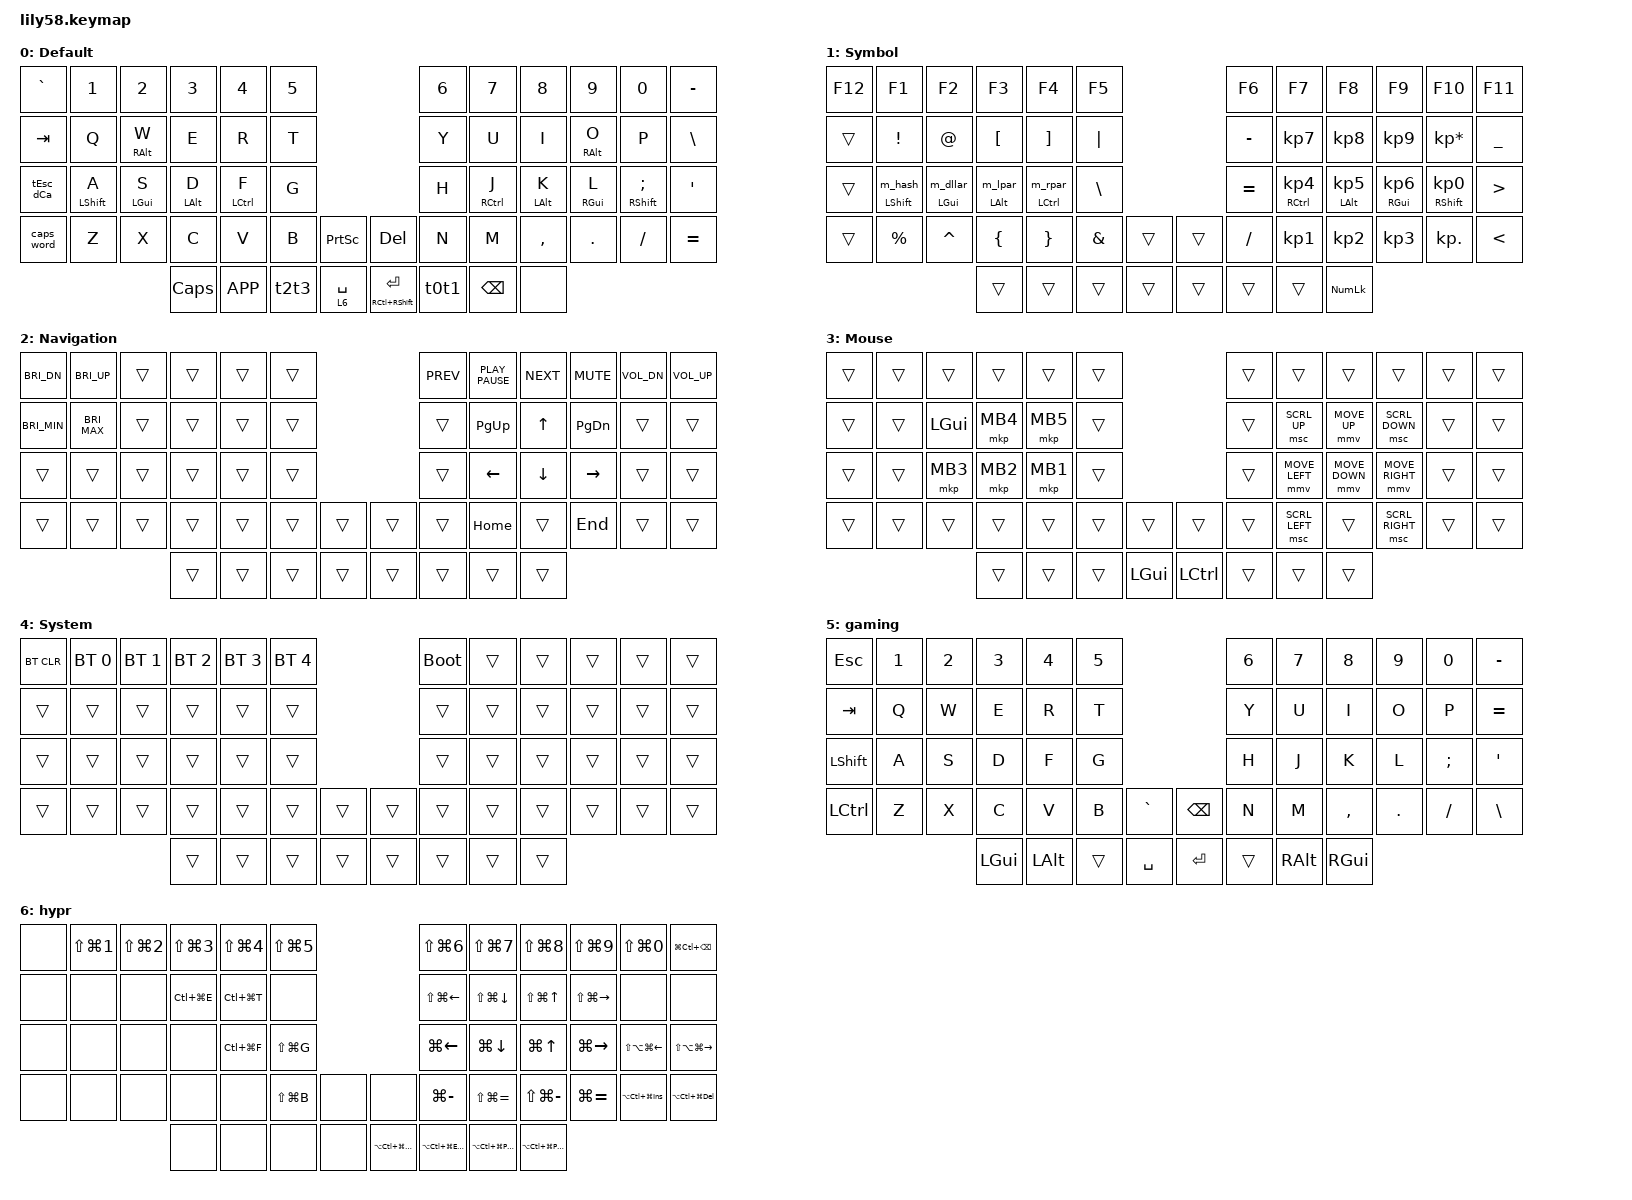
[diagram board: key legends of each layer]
/*
 * Copyright (c) 2020 The ZMK Contributors
 *
 * SPDX-License-Identifier: MIT
 */

#define ZMK_POINTING_DEFAULT_MOVE_VAL 2000  // default: 600
#define ZMK_POINTING_DEFAULT_SCRL_VAL 25    // default: 10

#include <behaviors.dtsi>
#include <dt-bindings/zmk/bt.h>
#include <dt-bindings/zmk/keys.h>
#include <dt-bindings/zmk/pointing.h>

/ {
    behaviors {
        tdbs: bsps-ctrl_bsps {
            compatible = "zmk,behavior-tap-dance";
            #binding-cells = <0>;
            tapping-term-ms = <200>;
            bindings = <&kp BSPC>, <&kp LC(BSPC)>;

            label = "bsps-ctrl_bsps";
        };

        t0t1: to_0-to_1 {
            compatible = "zmk,behavior-tap-dance";
            #binding-cells = <0>;
            tapping-term-ms = <200>;
            bindings = <&to 0>, <&to 1>;

            label = "to_0-to_1";
        };

        t2t3: to_2-to_3 {
            compatible = "zmk,behavior-tap-dance";
            #binding-cells = <0>;
            tapping-term-ms = <200>;
            bindings = <&to 2>, <&to 3>;

            label = "to_2-to_3";
        };

        hml: hrm_left {
            compatible = "zmk,behavior-hold-tap";
            #binding-cells = <2>;
            flavor = "balanced";
            require-prior-idle-ms = <150>;
            tapping-term-ms = <280>;
            quick-tap-ms = <175>;
            bindings = <&kp>, <&kp>;

            hold-trigger-key-positions = <6 7 8 9 10 11 18 19 20 21 22 23 30 31 32 33 34 35 43 44 45 46 47 48 49 54 55 56 57>;
            hold-trigger-on-release;
            label = "hrm_left";
        };

        hmr: hrm_right {
            compatible = "zmk,behavior-hold-tap";
            #binding-cells = <2>;
            flavor = "balanced";
            require-prior-idle-ms = <150>;
            tapping-term-ms = <280>;
            quick-tap-ms = <175>;
            bindings = <&kp>, <&kp>;

            hold-trigger-key-positions = <0 1 2 3 0 1 5 12 13 14 15 17 24 25 26 27 28 29 36 37 38 39 40 41 42 50 51 52 53 4 16>;
            hold-trigger-on-release;
            label = "hrm_right";
        };

        hmdlr: hrm_dollar {
            compatible = "zmk,behavior-hold-tap";
            #binding-cells = <2>;
            flavor = "balanced";
            require-prior-idle-ms = <150>;
            tapping-term-ms = <280>;
            quick-tap-ms = <175>;
            bindings = <&kp>, <&m_dllar>;

            hold-trigger-key-positions = <54 43 6 18 6 7 8 9 10 11 18 19 20 21 22 23 30 31 32 33 34 35 44 45 46 47 48 49 55 56 57>;
            hold-trigger-on-release;
            label = "hrm_dollar";
        };

        hmlpar: hrm_left_par {
            compatible = "zmk,behavior-hold-tap";
            #binding-cells = <2>;
            flavor = "balanced";
            require-prior-idle-ms = <150>;
            tapping-term-ms = <280>;
            quick-tap-ms = <175>;
            bindings = <&kp>, <&m_lpar>;

            hold-trigger-key-positions = <6 7 8 9 10 11 18 19 20 21 22 23 30 31 32 33 34 35 43 44 45 46 47 48 49 54 55 56 57>;
            hold-trigger-on-release;
            label = "hrm_left_par";
        };

        hmrpar: hrm_right_par {
            compatible = "zmk,behavior-hold-tap";
            #binding-cells = <2>;
            flavor = "balanced";
            require-prior-idle-ms = <150>;
            tapping-term-ms = <280>;
            quick-tap-ms = <175>;
            bindings = <&kp>, <&m_rpar>;

            hold-trigger-key-positions = <6 7 8 9 10 11 18 19 20 21 22 23 30 31 32 33 34 35 43 44 45 46 47 48 49 54 55 56 57>;
            hold-trigger-on-release;
            label = "hrm_right_par";
        };

        hmhsh: hmhsh {
            compatible = "zmk,behavior-hold-tap";
            #binding-cells = <2>;
            flavor = "balanced";
            require-prior-idle-ms = <150>;
            tapping-term-ms = <280>;
            quick-tap-ms = <175>;
            bindings = <&kp>, <&m_hash>;

            hold-trigger-key-positions = <54 43 6 18 6 7 8 9 10 11 18 19 20 21 22 23 30 31 32 33 34 35 44 45 46 47 48 49 55 56 57>;
            hold-trigger-on-release;
            label = "HMHSH";
        };

        tEsc_dCa: tEsc_dCa {
            compatible = "zmk,behavior-tap-dance";
            label = "TESC_DCA";
            #binding-cells = <0>;
            bindings = <&kp ESC>, <&kp LC(A)>;
        };
    };

    macros {
        // FIX HRM affecting the shifted symbols like & ( )

        m_dllar: dollar {
            compatible = "zmk,behavior-macro";
            #binding-cells = <0>;
            bindings =
                <&macro_press>,
                <&kp LSHIFT>,
                <&macro_tap>,
                <&kp N4>,
                <&macro_release>,
                <&kp LSHIFT>;
        };

        m_lpar: left_parenthesis {
            compatible = "zmk,behavior-macro";
            #binding-cells = <0>;
            bindings =
                <&macro_press>,
                <&kp LSHIFT>,
                <&macro_tap>,
                <&kp N9>,
                <&macro_release>,
                <&kp LSHIFT>;
        };

        m_rpar: right_parenthesis {
            compatible = "zmk,behavior-macro";
            #binding-cells = <0>;
            bindings =
                <&macro_press>,
                <&kp LSHIFT>,
                <&macro_tap>,
                <&kp N0>,
                <&macro_release>,
                <&kp LSHIFT>;
        };

        m_hash: m_hash {
            compatible = "zmk,behavior-macro";
            #binding-cells = <0>;
            bindings =
                <&macro_press>,
                <&kp LSHFT>,
                <&macro_tap>,
                <&kp N3>,
                <&macro_release>,
                <&kp LSHFT>;

            label = "M_HASH";
        };
    };

    combos {
        compatible = "zmk,combos";

        to_system {
            bindings = <&to 4>;
            key-positions = <42 43>;
        };

        to5 {
            bindings = <&to 5>;
            key-positions = <52 55>;
        };
    };

    keymap {
        compatible = "zmk,keymap";

        default_layer {
            bindings = <
&kp GRAVE   &kp N1         &kp N2       &kp N3       &kp N4        &kp N5                                    &kp N6  &kp N7         &kp N8       &kp N9       &kp N0                &kp MINUS
&kp TAB     &kp Q          &hml RALT W  &kp E        &kp R         &kp T                                     &kp Y   &kp U          &kp I        &hmr RALT O  &kp P                 &kp BACKSLASH
&tEsc_dCa   &hml LSHIFT A  &hml LGUI S  &hml LALT D  &hml LCTRL F  &kp G                                     &kp H   &hmr RCTRL J   &hmr LALT K  &hmr RGUI L  &hmr RSHFT SEMICOLON  &kp SQT
&caps_word  &kp Z          &kp X        &kp C        &kp V         &kp B   &kp PSCRN      &kp DEL            &kp N   &kp M          &kp COMMA    &kp PERIOD   &kp SLASH             &kp EQUAL
                                        &kp CAPS     &kp K_APP     &t2t3   &lt 6 SPACE    &mt RC(RSHFT) RET  &t0t1   &kp BACKSPACE  &none
            >;

            label = "Default";
        };

        symbol_layer {
            bindings = <
&kp F12  &kp F1          &kp F2         &kp F3          &kp F4           &kp F5                      &kp F6     &kp F7            &kp F8           &kp F9           &kp F10           &kp F11
&trans   &kp EXCL        &kp AT         &kp LBKT        &kp RBKT         &kp PIPE                    &kp MINUS  &kp KP_N7         &kp KP_N8        &kp KP_N9        &kp KP_MULTIPLY   &kp UNDER
&trans   &hmhsh LSHFT 0  &hmdlr LGUI 0  &hmlpar LALT 0  &hmrpar LCTRL 0  &kp BSLH                    &kp EQUAL  &hmr RCTRL KP_N4  &hmr LALT KP_N5  &hmr RGUI KP_N6  &hmr RSHFT KP_N0  &kp GREATER_THAN
&trans   &kp PRCNT       &kp CARET      &kp LBRC        &kp RBRC         &kp AMPS  &trans    &trans  &kp SLASH  &kp KP_N1         &kp KP_N2        &kp KP_N3        &kp KP_DOT        &kp LESS_THAN
                                        &trans          &trans           &trans    &trans    &trans  &trans     &trans            &kp KP_NLCK
            >;

            label = "Symbol";
        };

        navigation_layer {
            bindings = <
&kp C_BRI_DN   &kp C_BRI_UP   &trans  &trans  &trans  &trans                    &kp K_PREV  &kp K_PLAY_PAUSE  &kp K_NEXT  &kp K_MUTE  &kp K_VOL_DN  &kp K_VOL_UP
&kp C_BRI_MIN  &kp C_BRI_MAX  &trans  &trans  &trans  &trans                    &trans      &kp PG_UP         &kp UP      &kp PG_DN   &trans        &trans
&trans         &trans         &trans  &trans  &trans  &trans                    &trans      &kp LEFT          &kp DOWN    &kp RIGHT   &trans        &trans
&trans         &trans         &trans  &trans  &trans  &trans  &trans    &trans  &trans      &kp HOME          &trans      &kp END     &trans        &trans
                                      &trans  &trans  &trans  &trans    &trans  &trans      &trans            &trans
            >;

            label = "Navigation";
        };

        mouse_layer {
            bindings = <
&trans  &trans  &trans    &trans    &trans    &trans                             &trans  &trans          &trans          &trans           &trans  &trans
&trans  &trans  &kp LGUI  &mkp MB4  &mkp MB5  &trans                             &trans  &msc SCRL_UP    &mmv MOVE_UP    &msc SCRL_DOWN   &trans  &trans
&trans  &trans  &mkp MB3  &mkp MB2  &mkp MB1  &trans                             &trans  &mmv MOVE_LEFT  &mmv MOVE_DOWN  &mmv MOVE_RIGHT  &trans  &trans
&trans  &trans  &trans    &trans    &trans    &trans  &trans          &trans     &trans  &msc SCRL_LEFT  &trans          &msc SCRL_RIGHT  &trans  &trans
                          &trans    &trans    &trans  &kp LEFT_GUI    &kp LCTRL  &trans  &trans          &trans
            >;

            label = "Mouse";
        };

        system_layer {
            bindings = <
&bt BT_CLR  &bt BT_SEL 0  &bt BT_SEL 1  &bt BT_SEL 2  &bt BT_SEL 3  &bt BT_SEL 4                    &bootloader  &trans  &trans  &trans  &trans  &trans
&trans      &trans        &trans        &trans        &trans        &trans                          &trans       &trans  &trans  &trans  &trans  &trans
&trans      &trans        &trans        &trans        &trans        &trans                          &trans       &trans  &trans  &trans  &trans  &trans
&trans      &trans        &trans        &trans        &trans        &trans        &trans    &trans  &trans       &trans  &trans  &trans  &trans  &trans
                                        &trans        &trans        &trans        &trans    &trans  &trans       &trans  &trans
            >;

            label = "System";
        };

        gaming {
            bindings = <
&kp ESC    &kp N1  &kp N2  &kp N3    &kp N4    &kp N5                          &kp N6  &kp N7    &kp N8     &kp N9   &kp N0    &kp MINUS
&kp TAB    &kp Q   &kp W   &kp E     &kp R     &kp T                           &kp Y   &kp U     &kp I      &kp O    &kp P     &kp EQUAL
&kp LSHFT  &kp A   &kp S   &kp D     &kp F     &kp G                           &kp H   &kp J     &kp K      &kp L    &kp SEMI  &kp APOS
&kp LCTRL  &kp Z   &kp X   &kp C     &kp V     &kp B   &kp GRAVE    &kp BSPC   &kp N   &kp M     &kp COMMA  &kp DOT  &kp FSLH  &kp BSLH
                           &kp LGUI  &kp LALT  &trans  &kp SPACE    &kp ENTER  &trans  &kp RALT  &kp RGUI
            >;
        };

        hypr {
            bindings = <
&none  &kp LS(LG(N1))  &kp LS(LG(N2))  &kp LS(LG(N3))  &kp LS(LG(N4))  &kp LS(LG(N5))                                 &kp LS(LG(N6))       &kp LS(LG(N7))           &kp LS(LG(N8))             &kp LS(LG(N9))     &kp LS(LG(N0))          &kp LG(LC(BACKSPACE))
&none  &none           &none           &kp LC(LG(E))   &kp LC(LG(T))   &none                                          &kp LS(LG(LEFT))     &kp LS(LG(DOWN))         &kp LS(LG(UP))             &kp LS(LG(RIGHT))  &none                   &none
&none  &none           &none           &none           &kp LC(LG(F))   &kp LS(LG(G))                                  &kp LG(LEFT)         &kp LG(DOWN)             &kp LG(UP)                 &kp LG(RIGHT)      &kp LS(LA(LG(LEFT)))    &kp LS(LA(LG(RIGHT)))
&none  &none           &none           &none           &none           &kp LS(LG(B))   &none    &none                 &kp LG(MINUS)        &kp LS(LG(EQUAL))        &kp LS(LG(MINUS))          &kp LG(EQUAL)      &kp LA(LC(LG(INSERT)))  &kp LA(LC(LG(DEL)))
                                       &none           &none           &none           &none    &kp LA(LC(LG(HOME)))  &kp LA(LC(LG(END)))  &kp LA(LC(LG(PAGE_UP)))  &kp LA(LC(LG(PAGE_DOWN)))
            >;
        };
    };
};
